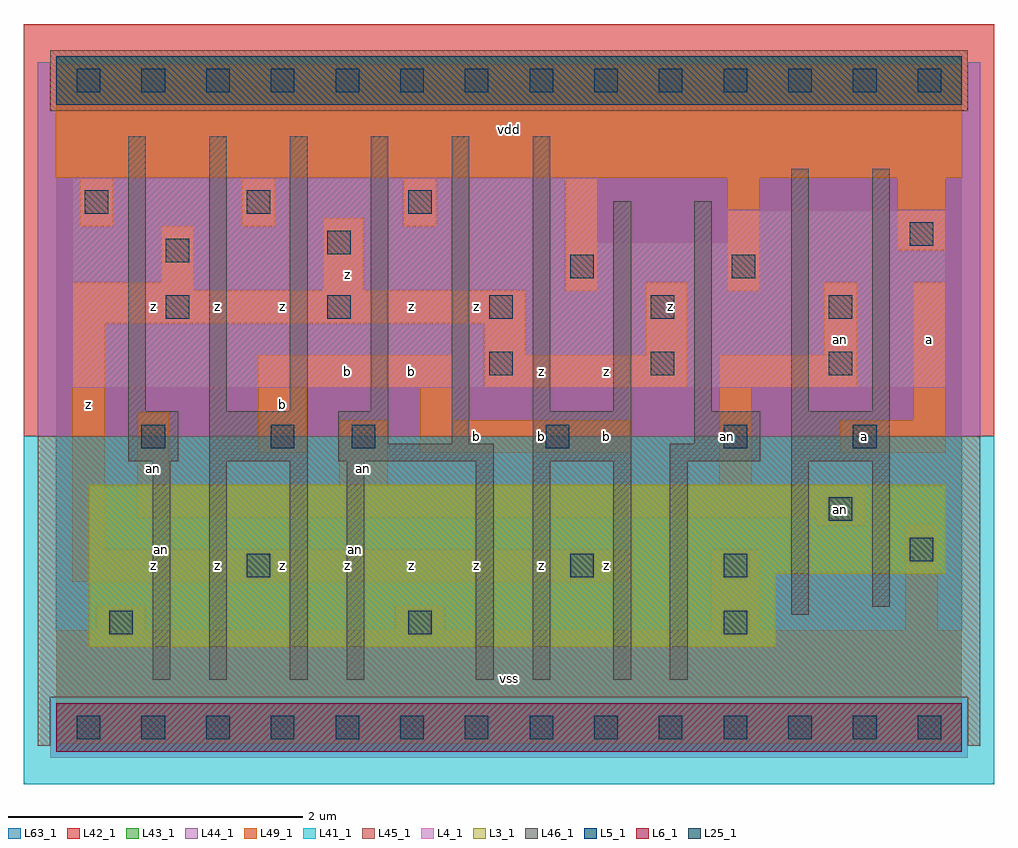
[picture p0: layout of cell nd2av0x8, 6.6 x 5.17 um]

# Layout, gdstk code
import gdstk
lib = gdstk.Library(unit=1e-6, precision=1e-09)
def R(c, l, rs):  # rectangles x0, y0, x1, y1
    for r in rs: c.add(gdstk.rectangle(r[:2], r[2:], *l))
def A(c, l, x, y, w, h, nx, ny, dx, dy):  # array of equal rectangles
    R(c, l, [(x+i*dx, y+j*dy, x+i*dx+w, y+j*dy+h) for i in range(nx) for j in range(ny)])
L3_1 = (3, 1)
L4_1 = (4, 1)
L5_1 = (5, 1)
L6_1 = (6, 1)
L25_1 = (25, 1)
L41_1 = (41, 1)
L42_1 = (42, 1)
L43_1 = (43, 1)
L44_1 = (44, 1)
L45_1 = (45, 1)
L46_1 = (46, 1)
L49_1 = (49, 1)
L63_1 = (63, 1)

nd2av0x8 = lib.new_cell('nd2av0x8')
R(nd2av0x8, L3_1, [(0.22,0.55,4.895,1.045), (0.22,1.045,6.05,1.65)])
R(nd2av0x8, L4_1, [(0.11,2.31,6.05,3.3), (0.11,3.3,3.685,3.74), (4.565,3.3,6.05,3.52)])
R(nd2av0x8, L5_1, [(0,4.235,6.16,4.565)])
R(nd2av0x8, L6_1, [(0,-0.165,6.16,0.165)])
A(nd2av0x8, L25_1, 0.14, -0.08, 0.16, 0.16, 14, 2, 0.44, 4.4)
A(nd2av0x8, L25_1, 0.745, 2.78, 0.16, 0.16, 4, 1, 1.1, 0)
A(nd2av0x8, L25_1, 0.195, 3.495, 0.16, 0.16, 3, 1, 1.1, 0)
R(nd2av0x8, L25_1, [(0.36,0.635,0.52,0.795), (2.395,0.635,2.555,0.795), (4.54,0.635,4.7,0.795), (1.295,1.02,1.455,1.18), (3.495,1.02,3.655,1.18), (4.54,1.02,4.7,1.18), (5.805,1.13,5.965,1.29), (5.255,1.405,5.415,1.565), (0.58,1.9,0.74,2.06), (1.46,1.9,1.62,2.06), (2.01,1.9,2.17,2.06), (3.33,1.9,3.49,2.06), (4.54,1.9,4.7,2.06), (5.42,1.9,5.58,2.06), (2.945,2.395,3.105,2.555), (4.045,2.395,4.205,2.555), (5.255,2.395,5.415,2.555), (5.255,2.78,5.415,2.94), (3.495,3.055,3.655,3.215), (4.595,3.055,4.755,3.215), (0.745,3.165,0.905,3.325), (1.845,3.22,2.005,3.38), (5.805,3.275,5.965,3.435)])
R(nd2av0x8, L41_1, [(-0.22,-0.385,6.38,1.98)])
R(nd2av0x8, L42_1, [(-0.22,1.98,6.38,4.785)])
R(nd2av0x8, L43_1, [(0,-0.165,6.16,0.165), (0.22,0.55,4.895,1.045), (0.22,1.045,6.05,1.65), (0.11,2.31,6.05,3.3), (0.11,3.3,3.685,3.74), (4.565,3.3,6.05,3.52), (0,4.235,6.16,4.565)])
R(nd2av0x8, L44_1, [(-0.04,-0.205,6.2,0.205), (-0.125,1.98,6.285,4.195), (-0.125,4.195,-0.04,4.525), (6.2,4.195,6.285,4.525)])
R(nd2av0x8, L45_1, [(-0.125,-0.125,-0.04,0.205), (6.2,-0.125,6.285,0.205), (-0.125,0.205,6.285,1.98), (-0.04,4.195,6.2,4.605)])
A(nd2av0x8, L46_1, 0.49, 2.15, 0.12, 1.87, 4, 1, 0.55, 0)
R(nd2av0x8, L46_1, [(0.655,0.325,0.775,1.81), (1.04,0.325,1.16,1.81), (1.59,0.325,1.71,1.81), (1.975,0.325,2.095,1.81), (2.855,0.325,2.975,1.81), (3.24,0.325,3.36,1.81), (3.79,0.325,3.91,1.81), (4.175,0.325,4.295,1.81), (5,0.765,5.12,1.81), (5.55,0.82,5.67,1.81), (0.49,1.81,0.83,2.15), (1.04,1.81,1.71,2.15), (1.92,1.81,2.975,1.93), (3.24,1.81,3.91,2.15), (4.175,1.81,4.79,1.93), (5,1.81,5.67,2.15), (1.92,1.93,2.26,2.15), (2.69,1.93,2.81,4.02), (4.34,1.93,4.79,2.15), (3.24,2.15,3.36,4.02), (3.79,2.15,3.91,3.58), (4.34,2.15,4.46,3.58), (5,2.15,5.12,3.8), (5.55,2.15,5.67,3.8)])
A(nd2av0x8, L49_1, 0.165, 3.41, 0.22, 0.33, 3, 1, 1.1, 0)
R(nd2av0x8, L49_1, [(0,-0.11,6.16,0.66), (0.275,0.66,0.605,0.825), (2.31,0.66,2.64,0.825), (4.455,0.66,4.785,1.21), (5.775,0.66,5.995,1.375), (0.11,0.99,3.905,1.21), (0.11,1.21,0.33,2.75), (5.17,1.375,5.5,1.43), (0.55,1.43,5.5,1.65), (0.55,1.65,0.77,2.145), (1.925,1.65,2.255,2.09), (4.51,1.65,4.73,2.31), (1.375,1.87,1.705,2.31), (2.475,1.87,3.905,2.09), (5.335,1.87,6.05,2.09), (2.475,2.09,2.695,2.31), (5.83,2.09,6.05,3.025), (1.375,2.31,2.695,2.53), (2.915,2.31,4.29,2.53), (4.51,2.31,5.445,2.53), (2.915,2.53,3.19,2.75), (4.015,2.53,4.29,3.025), (5.225,2.53,5.445,3.025), (0.11,2.75,3.19,2.97), (0.11,2.97,0.935,3.025), (1.815,2.97,2.09,3.465), (3.465,2.97,3.685,3.74), (4.565,2.97,4.785,3.74), (0.715,3.025,0.935,3.41), (5.72,3.245,6.05,3.74), (0,3.74,6.16,4.51)])
R(nd2av0x8, L63_1, [(0,0,6.16,4.4)])
nd2av0x8.add(gdstk.Label('an', (0.715,1.21), layer=46, texttype=1))
nd2av0x8.add(gdstk.Label('an', (2.035,1.21), layer=46, texttype=1))
nd2av0x8.add(gdstk.Label('an', (4.565,1.98), layer=49, texttype=1))
nd2av0x8.add(gdstk.Label('z', (0.66,1.1), layer=49, texttype=1))
nd2av0x8.add(gdstk.Label('an', (0.66,1.76), layer=49, texttype=1))
nd2av0x8.add(gdstk.Label('z', (0.22,2.2), layer=49, texttype=1))
nd2av0x8.add(gdstk.Label('z', (0.66,2.86), layer=49, texttype=1))
nd2av0x8.add(gdstk.Label('z', (1.1,1.1), layer=49, texttype=1))
nd2av0x8.add(gdstk.Label('z', (1.54,1.1), layer=49, texttype=1))
nd2av0x8.add(gdstk.Label('z', (1.98,1.1), layer=49, texttype=1))
nd2av0x8.add(gdstk.Label('an', (2.09,1.76), layer=49, texttype=1))
nd2av0x8.add(gdstk.Label('b', (1.54,2.2), layer=49, texttype=1))
nd2av0x8.add(gdstk.Label('b', (1.98,2.42), layer=49, texttype=1))
nd2av0x8.add(gdstk.Label('z', (1.54,2.86), layer=49, texttype=1))
nd2av0x8.add(gdstk.Label('z', (1.1,2.86), layer=49, texttype=1))
nd2av0x8.add(gdstk.Label('z', (1.98,3.08), layer=49, texttype=1))
nd2av0x8.add(gdstk.Label('vss', (3.08,0.33), layer=49, texttype=1))
nd2av0x8.add(gdstk.Label('z', (2.42,1.1), layer=49, texttype=1))
nd2av0x8.add(gdstk.Label('z', (2.86,1.1), layer=49, texttype=1))
nd2av0x8.add(gdstk.Label('z', (3.3,1.1), layer=49, texttype=1))
nd2av0x8.add(gdstk.Label('b', (2.42,2.42), layer=49, texttype=1))
nd2av0x8.add(gdstk.Label('b', (2.86,1.98), layer=49, texttype=1))
nd2av0x8.add(gdstk.Label('b', (3.3,1.98), layer=49, texttype=1))
nd2av0x8.add(gdstk.Label('z', (3.3,2.42), layer=49, texttype=1))
nd2av0x8.add(gdstk.Label('z', (2.86,2.86), layer=49, texttype=1))
nd2av0x8.add(gdstk.Label('z', (2.42,2.86), layer=49, texttype=1))
nd2av0x8.add(gdstk.Label('vdd', (3.08,4.07), layer=49, texttype=1))
nd2av0x8.add(gdstk.Label('z', (3.74,1.1), layer=49, texttype=1))
nd2av0x8.add(gdstk.Label('an', (4.62,1.98), layer=49, texttype=1))
nd2av0x8.add(gdstk.Label('b', (3.74,1.98), layer=49, texttype=1))
nd2av0x8.add(gdstk.Label('z', (3.74,2.42), layer=49, texttype=1))
nd2av0x8.add(gdstk.Label('z', (4.18,2.86), layer=49, texttype=1))
nd2av0x8.add(gdstk.Label('an', (5.335,1.485), layer=49, texttype=1))
nd2av0x8.add(gdstk.Label('a', (5.5,1.98), layer=49, texttype=1))
nd2av0x8.add(gdstk.Label('a', (5.94,2.64), layer=49, texttype=1))
nd2av0x8.add(gdstk.Label('an', (5.335,2.64), layer=49, texttype=1))

lib.write_gds('nd2av0x8.gds')
